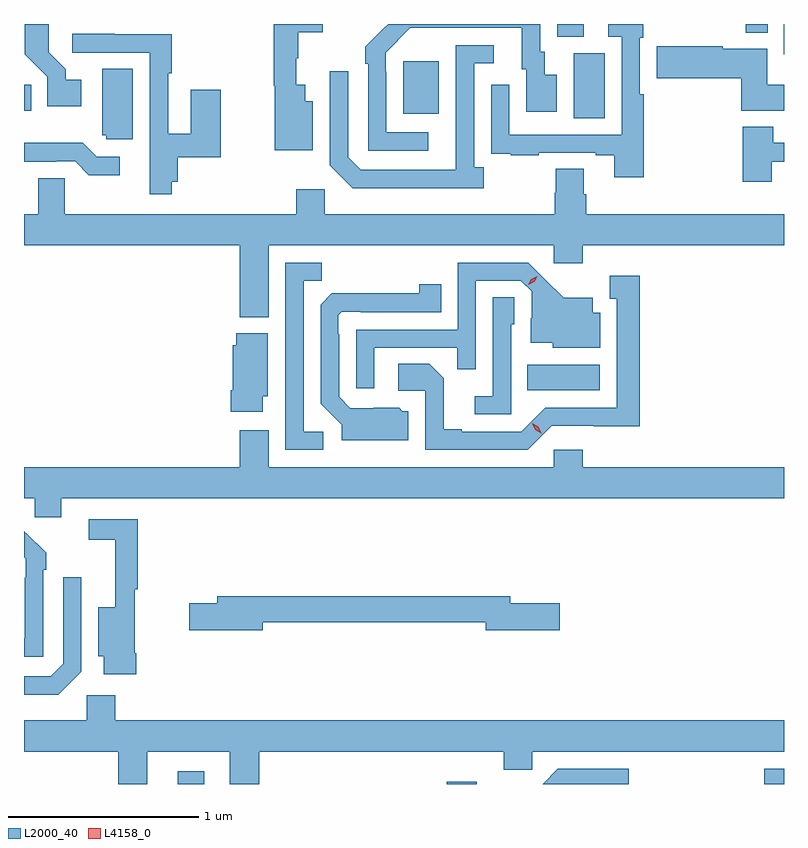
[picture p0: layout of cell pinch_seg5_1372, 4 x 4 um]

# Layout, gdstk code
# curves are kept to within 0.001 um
import gdstk
lib = gdstk.Library(unit=1e-6, precision=1e-09)
def R(c, l, rs):  # rectangles x0, y0, x1, y1
    for r in rs: c.add(gdstk.rectangle(r[:2], r[2:], *l))
def P(c, l, *ps):  # polygons
    for p in ps: c.add(gdstk.Polygon(p, *l))
L2000_40 = (2000, 40)
L4158_0 = (4158, 0)

pinch_seg5_1372 = lib.new_cell('pinch_seg5_1372')
R(pinch_seg5_1372, L2000_40, [(154.619,892.553,154.759,892.621), (156.036,892.553,156.193,892.564), (157.708,892.553,157.811,892.632), (156.46,894.626,156.841,894.76), (156.704,896.056,156.868,896.4), (155.807,896.081,155.995,896.356), (153.811,896.096,153.848,896.234), (156.617,896.485,156.757,896.553), (157.609,896.507,157.725,896.553)])
P(pinch_seg5_1372, L2000_40, [(155.938,895.983),(155.718,895.983),(155.718,896.303),(155.715,896.303),(155.715,896.403),(155.844,896.532),(156.431,896.532),(156.431,896.316),(156.455,896.316),(156.455,896.091),(156.616,896.091),(156.616,896.287),(156.553,896.287),(156.553,896.406),(156.528,896.406),(156.528,896.553),(155.729,896.553),(155.713,896.537),(155.712,896.538),(155.607,896.433),(155.607,896.345),(155.622,896.345),(155.622,895.887),(155.938,895.887)],
  [(157.073,896.183),(157.053,896.183),(157.053,896.48),(157.071,896.48),(157.071,896.553),(156.885,896.553),(156.885,896.487),(156.957,896.487),(156.957,895.971),(156.366,895.971),(156.366,896.233),(156.27,896.233),(156.27,895.978),(156.271,895.978),(156.271,895.869),(156.373,895.869),(156.373,895.863),(156.521,895.863),(156.521,895.875),(156.821,895.875),(156.821,895.863),(156.917,895.863),(156.917,895.746),(157.073,895.746)],
  [(154.111,896.26),(154.03,896.26),(154.03,896.315),(153.94,896.405),(153.94,896.553),(153.814,896.553),(153.814,896.394),(153.933,896.275),(153.933,896.12),(154.111,896.12)],
  [(157.811,896.553),(157.81,896.553),(157.81,896.394),(157.811,896.393)],
  [(155.332,896.146),(155.29,896.146),(155.29,896.233),(155.243,896.233),(155.243,896.373),(155.254,896.373),(155.254,896.509),(155.383,896.509),(155.383,896.553),(155.125,896.553),(155.125,896.229),(155.132,896.229),(155.132,895.889),(155.332,895.889)],
  [(154.589,895.724),(154.619,895.724),(154.619,895.853),(154.846,895.853),(154.846,896.206),(154.688,896.206),(154.688,895.976),(154.569,895.976),(154.569,896.293),(154.589,896.293),(154.589,896.499),(154.289,896.499),(154.289,896.502),(154.065,896.502),(154.065,896.403),(154.473,896.403),(154.473,895.656),(154.589,895.656)],
  [(156.232,895.798),(156.18,895.798),(156.18,896.346),(156.283,896.346),(156.283,896.442),(156.084,896.442),(156.083,895.785),(155.583,895.785),(155.517,895.851),(155.517,896.305),(155.421,896.305),(155.421,895.809),(155.542,895.688),(156.232,895.688)],
  [(157.811,896.234),(157.723,896.234),(157.723,896.422),(157.488,896.422),(157.488,896.437),(157.14,896.437),(157.14,896.267),(157.586,896.267),(157.586,896.096),(157.811,896.096)],
  [(154.384,896.317),(154.223,896.317),(154.223,895.968),(154.245,895.968),(154.245,895.947),(154.384,895.947)],
  [(157.747,895.827),(157.811,895.827),(157.811,895.927),(157.755,895.927),(157.755,896.011),(157.595,896.011),(157.595,895.722),(157.747,895.722)],
  [(154.315,895.854),(154.194,895.854),(154.121,895.927),(153.811,895.927),(153.811,895.827),(153.98,895.827),(153.98,895.83),(154.08,895.83),(154.153,895.757),(154.315,895.757)],
  [(155.098,895.388),(156.6,895.388),(156.6,895.293),(156.752,895.293),(156.752,895.388),(157.811,895.388),(157.811,895.552),(156.77,895.552),(156.77,895.658),(156.757,895.658),(156.757,895.79),(156.61,895.79),(156.61,895.665),(156.605,895.665),(156.605,895.552),(155.394,895.552),(155.394,895.684),(155.243,895.684),(155.243,895.552),(154.026,895.552),(154.026,895.742),(153.887,895.742),(153.887,895.552),(153.811,895.552),(153.811,895.388),(154.946,895.388),(154.946,895.01),(155.098,895.01)],
  [(155.655,894.849),(156.091,894.849),(156.091,894.736),(156.189,894.736),(156.189,895.203),(156.426,895.203),(156.483,895.146),(156.483,895.004),(156.479,895.004),(156.479,894.875),(156.594,894.875),(156.594,894.848),(156.844,894.848),(156.844,895.033),(156.805,895.033),(156.805,895.111),(156.653,895.111),(156.466,895.296),(156.093,895.296),(156.093,894.945),(155.559,894.945),(155.559,894.636),(155.655,894.636)],
  [(155.386,894.408),(155.283,894.408),(155.283,895.201),(155.379,895.201),(155.379,895.296),(155.187,895.296),(155.187,894.312),(155.386,894.312)],
  [(156.588,894.438),(157.051,894.437),(157.051,895.228),(156.893,895.228),(156.893,895.107),(156.932,895.107),(156.932,894.534),(156.555,894.534),(156.429,894.408),(156.115,894.408),(156.115,894.421),(156.021,894.421),(156.021,894.688),(155.945,894.764),(155.781,894.764),(155.781,894.624),(155.922,894.624),(155.922,894.312),(156.462,894.312)],
  [(155.833,894.516),(155.802,894.516),(155.786,894.532),(155.529,894.531),(155.469,894.591),(155.469,894.92),(155.466,894.92),(155.466,895.02),(155.484,895.038),(155.584,895.038),(155.584,895.035),(156.008,895.035),(156.008,895.183),(155.89,895.183),(155.89,895.136),(155.432,895.135),(155.373,895.076),(155.373,894.554),(155.483,894.444),(155.483,894.362),(155.833,894.362)],
  [(156.375,894.972),(156.39,894.972),(156.39,895.115),(156.279,895.115),(156.279,894.595),(156.183,894.595),(156.183,894.498),(156.375,894.498)],
  [(155.068,894.594),(155.095,894.594),(155.095,894.925),(154.928,894.925),(154.928,894.861),(154.91,894.861),(154.91,894.625),(154.898,894.625),(154.898,894.513),(155.068,894.513)],
  [(154.006,894.056),(157.811,894.056),(157.811,894.22),(156.752,894.22),(156.752,894.313),(156.6,894.313),(156.6,894.22),(155.098,894.22),(155.098,894.415),(154.946,894.415),(154.946,894.22),(153.811,894.22),(153.811,894.056),(153.867,894.056),(153.867,893.958),(154.006,893.958)],
  [(154.403,893.242),(154.394,893.242),(154.394,893.578),(154.409,893.578),(154.409,893.946),(154.152,893.946),(154.152,893.838),(154.292,893.838),(154.292,893.482),(154.202,893.482),(154.202,893.225),(154.232,893.225),(154.232,893.13),(154.403,893.13)],
  [(153.912,893.681),(153.927,893.681),(153.927,893.769),(153.822,893.874),(153.821,893.873),(153.811,893.883),(153.811,893.747),(153.819,893.739),(153.819,893.639),(153.816,893.639),(153.816,893.319),(153.811,893.319),(153.811,893.223),(153.912,893.223)],
  [(154.113,893.145),(154.113,893.641),(154.017,893.641),(154.017,893.187),(153.951,893.121),(153.811,893.121),(153.811,893.024),(153.992,893.024)],
  [(155.068,893.404),(156.242,893.404),(156.242,893.362),(156.631,893.362),(156.631,893.504),(156.37,893.504),(156.37,893.54),(154.829,893.54),(154.829,893.504),(154.68,893.504),(154.68,893.362),(155.068,893.362)],
  [(154.459,892.724),(154.895,892.724),(154.895,892.553),(155.048,892.553),(155.048,892.724),(156.335,892.724),(156.335,892.629),(156.486,892.629),(156.486,892.724),(157.811,892.724),(157.811,892.888),(154.292,892.888),(154.292,893.02),(154.14,893.02),(154.14,892.888),(153.811,892.888),(153.811,892.724),(154.307,892.724),(154.307,892.553),(154.459,892.553)],
  [(156.993,892.632),(156.62,892.632),(156.54,892.553),(156.993,892.553)])
P(pinch_seg5_1372, L4158_0, [(156.465,895.181),(156.465,895.181),(156.482,895.21),(156.513,895.226),(156.513,895.226),(156.513,895.225),(156.496,895.196),(156.465,895.181)],
  [(156.534,894.399),(156.502,894.418),(156.485,894.45),(156.485,894.451),(156.485,894.451),(156.517,894.432),(156.534,894.399),(156.534,894.399)])

lib.write_gds('pinch_seg5_1372.gds')
